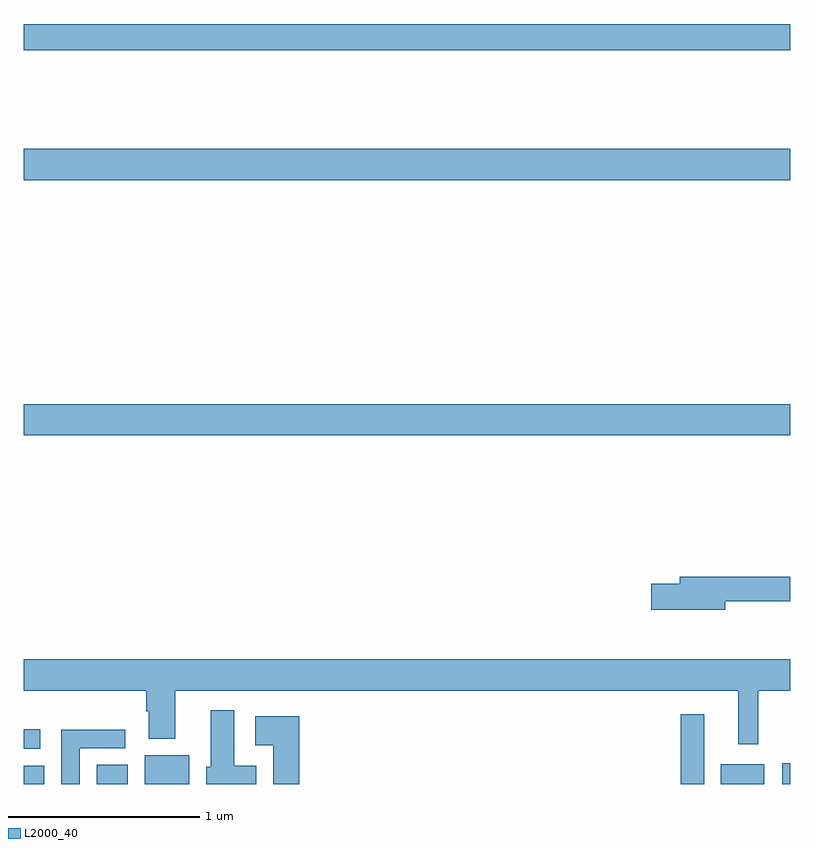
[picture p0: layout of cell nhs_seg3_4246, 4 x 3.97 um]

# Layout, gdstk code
import gdstk
lib = gdstk.Library(unit=1e-6, precision=1e-09)
def R(c, l, rs):  # rectangles x0, y0, x1, y1
    for r in rs: c.add(gdstk.rectangle(r[:2], r[2:], *l))
def P(c, l, *ps):  # polygons
    for p in ps: c.add(gdstk.Polygon(p, *l))
L2000_40 = (2000, 40)

nhs_seg3_4246 = lib.new_cell('nhs_seg3_4246')
R(nhs_seg3_4246, L2000_40, [(335,728.4,335.107,728.496), (335.381,728.4,335.542,728.501), (335.63,728.4,335.863,728.551), (338.43,728.4,338.551,728.764), (338.639,728.4,338.866,728.503), (338.96,728.4,339,728.509), (335,728.585,335.086,728.686), (335,730.22,339,730.384), (335,731.552,339,731.716), (335,732.232,339,732.368)])
P(nhs_seg3_4246, L2000_40, [(338.662,729.354),(339,729.354),(339,729.482),(338.423,729.482),(338.423,729.446),(338.274,729.446),(338.274,729.311),(338.662,729.311)],
  [(338.833,728.888),(339,728.888),(339,729.052),(335,729.052),(335,728.888),(335.639,728.888),(335.639,728.779),(335.651,728.779),(335.651,728.636),(335.791,728.636),(335.791,728.888),(338.729,728.888),(338.729,728.607),(338.833,728.607)],
  [(336.214,728.494),(336.097,728.494),(336.097,728.785),(335.975,728.785),(335.975,728.49),(335.951,728.49),(335.951,728.4),(336.214,728.4)],
  [(336.437,728.755),(336.207,728.755),(336.207,728.603),(336.302,728.603),(336.302,728.4),(336.437,728.4)],
  [(335.292,728.586),(335.53,728.586),(335.53,728.684),(335.196,728.684),(335.196,728.4),(335.292,728.4)])

lib.write_gds('nhs_seg3_4246.gds')
